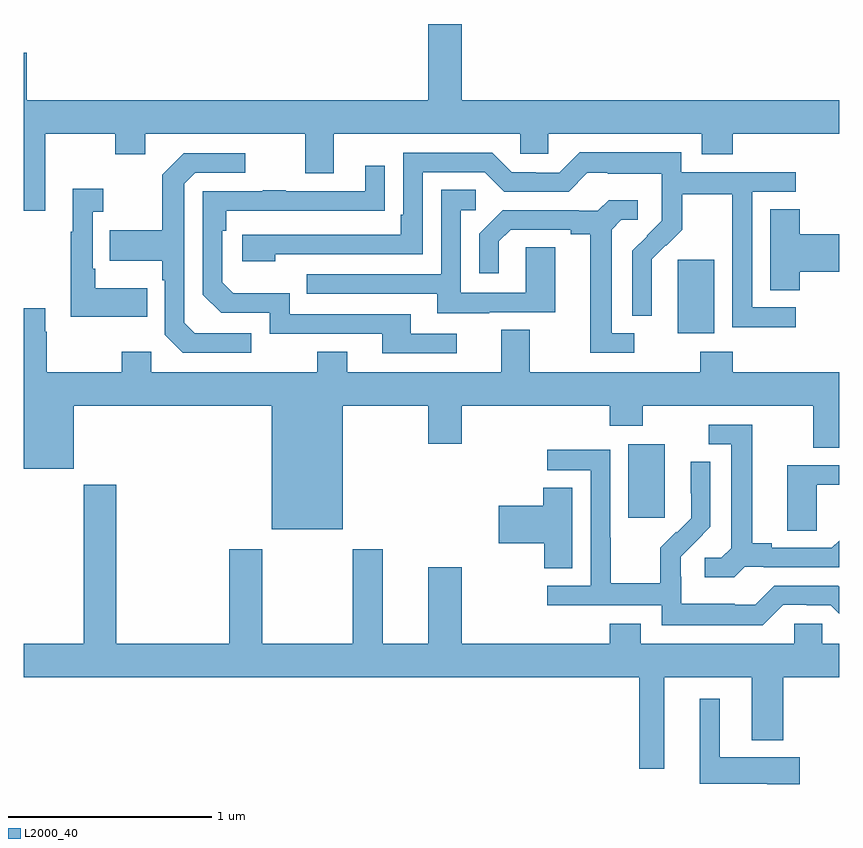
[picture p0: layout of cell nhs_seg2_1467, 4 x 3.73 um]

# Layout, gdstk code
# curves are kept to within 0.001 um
import gdstk
lib = gdstk.Library(unit=1e-6, precision=1e-09)
def R(c, l, rs):  # rectangles x0, y0, x1, y1
    for r in rs: c.add(gdstk.rectangle(r[:2], r[2:], *l))
def P(c, l, *ps):  # polygons
    for p in ps: c.add(gdstk.Polygon(p, *l))
L2000_40 = (2000, 40)

nhs_seg2_1467 = lib.new_cell('nhs_seg2_1467')
R(nhs_seg2_1467, L2000_40, [(189.965,627.105,190.144,627.466), (190.208,628.01,190.387,628.371)])
P(nhs_seg2_1467, L2000_40, [(187.105,628.988),(187.45,628.988),(187.45,628.889),(187.597,628.889),(187.597,628.988),(188.381,628.988),(188.381,628.794),(188.521,628.794),(188.521,628.988),(189.435,628.988),(189.435,628.89),(189.573,628.89),(189.573,628.988),(190.325,628.988),(190.325,628.889),(190.478,628.889),(190.478,628.988),(191,628.988),(191,629.152),(189.148,629.152),(189.148,629.527),(188.984,629.527),(188.984,629.152),(187.016,629.152),(187.016,629.386),(187,629.386),(187,628.611),(187.105,628.611)],
  [(190.786,628.137),(190.572,628.137),(190.572,628.704),(190.786,628.704),(190.786,628.8),(190.224,628.8),(190.224,628.897),(189.727,628.897),(189.627,628.797),(189.512,628.797),(189.512,628.8),(189.393,628.8),(189.297,628.896),(188.862,628.896),(188.862,628.591),(188.849,628.591),(188.849,628.494),(188.073,628.494),(188.073,628.364),(188.234,628.364),(188.234,628.398),(188.958,628.398),(188.958,628.8),(189.261,628.8),(189.357,628.704),(189.672,628.704),(189.765,628.797),(189.865,628.797),(189.865,628.793),(190.128,628.793),(190.128,628.659),(190.13,628.659),(190.13,628.562),(189.984,628.414),(189.984,628.096),(190.08,628.096),(190.079,628.373),(190.149,628.443),(190.152,628.44),(190.229,628.517),(190.229,628.692),(190.474,628.692),(190.474,628.468),(190.476,628.468),(190.476,628.039),(190.786,628.039)],
  [(188.116,628.011),(187.839,628.011),(187.788,628.062),(187.788,628.743),(187.842,628.797),(188.086,628.797),(188.086,628.893),(187.785,628.893),(187.68,628.787),(187.68,628.515),(187.423,628.515),(187.423,628.367),(187.68,628.367),(187.68,628.271),(187.692,628.271),(187.692,628.002),(187.779,627.915),(188.116,627.915)],
  [(189.124,628.008),(188.899,628.008),(188.899,628.104),(188.304,628.104),(188.304,628.207),(188.027,628.207),(187.974,628.26),(187.974,628.514),(187.994,628.514),(187.994,628.611),(188.771,628.612),(188.771,628.831),(188.675,628.831),(188.675,628.707),(188.285,628.707),(188.285,628.712),(188.173,628.712),(188.173,628.707),(187.878,628.707),(187.878,628.2),(187.968,628.11),(188.208,628.11),(188.208,628.008),(188.759,628.008),(188.759,627.912),(189.124,627.912)],
  [(187.607,628.231),(187.351,628.231),(187.351,628.327),(187.338,628.327),(187.338,628.607),(187.39,628.607),(187.39,628.72),(187.241,628.72),(187.241,628.507),(187.23,628.507),(187.23,628.091),(187.607,628.091)],
  [(189.283,628.113),(189.607,628.113),(189.607,628.433),(189.462,628.433),(189.462,628.209),(189.144,628.209),(189.144,628.614),(189.217,628.614),(189.217,628.715),(189.048,628.715),(189.048,628.299),(188.389,628.299),(188.389,628.203),(189.029,628.203),(189.029,628.109),(189.283,628.109)],
  [(189.994,628.011),(189.883,628.011),(189.883,628.519),(189.93,628.566),(190.012,628.566),(190.012,628.663),(189.868,628.663),(189.816,628.611),(189.722,628.611),(189.722,628.614),(189.35,628.614),(189.234,628.498),(189.234,628.305),(189.331,628.305),(189.331,628.461),(189.388,628.518),(189.683,628.518),(189.683,628.496),(189.779,628.496),(189.779,627.915),(189.994,627.915)],
  [(190.805,628.313),(191,628.313),(191,628.496),(190.805,628.496),(190.805,628.619),(190.661,628.619),(190.661,628.222),(190.805,628.222)],
  [(188.566,627.656),(188.984,627.656),(188.984,627.468),(189.148,627.468),(189.148,627.656),(189.875,627.656),(189.875,627.557),(190.035,627.557),(190.035,627.656),(190.871,627.656),(190.871,627.448),(191,627.448),(191,627.82),(190.478,627.82),(190.478,627.919),(190.318,627.919),(190.318,627.82),(189.481,627.82),(189.481,628.028),(189.341,628.028),(189.341,627.82),(188.587,627.82),(188.587,627.919),(188.44,627.919),(188.44,627.82),(187.626,627.82),(187.626,627.919),(187.48,627.919),(187.48,627.82),(187.113,627.82),(187.113,628.019),(187.105,628.019),(187.105,628.132),(187,628.132),(187,627.347),(187.246,627.347),(187.246,627.656),(188.216,627.656),(188.216,627.05),(188.566,627.05)],
  [(190.536,626.865),(190.63,626.865),(190.63,626.862),(191,626.862),(191,626.994),(190.964,626.958),(190.669,626.958),(190.669,626.981),(190.573,626.981),(190.573,627.561),(190.359,627.561),(190.359,627.465),(190.469,627.465),(190.469,626.957),(190.422,626.91),(190.341,626.91),(190.341,626.813),(190.484,626.813)],
  [(190.725,626.679),(190.841,626.679),(190.841,626.676),(190.959,626.676),(191,626.635),(191,626.767),(190.995,626.772),(190.68,626.772),(190.587,626.679),(190.487,626.679),(190.487,626.683),(190.224,626.683),(190.224,626.817),(190.222,626.817),(190.222,626.914),(190.368,627.062),(190.368,627.38),(190.272,627.38),(190.272,627.226),(190.274,627.226),(190.274,627.104),(190.203,627.033),(190.2,627.036),(190.123,626.959),(190.123,626.785),(189.879,626.785),(189.879,627.008),(189.876,627.008),(189.876,627.438),(189.567,627.438),(189.567,627.339),(189.78,627.339),(189.78,626.772),(189.567,626.772),(189.567,626.676),(190.128,626.676),(190.128,626.579),(190.625,626.579)],
  [(190.89,627.267),(191,627.267),(191,627.363),(190.745,627.363),(190.745,627.043),(190.89,627.043)],
  [(190.141,626.324),(190.571,626.324),(190.571,626.015),(190.724,626.015),(190.724,626.324),(191,626.324),(191,626.488),(190.917,626.488),(190.917,626.586),(190.779,626.586),(190.779,626.488),(190.027,626.488),(190.027,626.587),(189.875,626.587),(189.875,626.488),(189.148,626.488),(189.148,626.863),(188.984,626.863),(188.984,626.488),(188.761,626.488),(188.761,626.95),(188.614,626.95),(188.614,626.488),(188.169,626.488),(188.169,626.95),(188.009,626.95),(188.009,626.488),(187.454,626.488),(187.454,627.268),(187.294,627.268),(187.294,626.488),(187,626.488),(187,626.324),(190.02,626.324),(190.02,625.875),(190.141,625.875)],
  [(189.691,627.254),(189.548,627.254),(189.548,627.164),(189.33,627.164),(189.33,626.981),(189.553,626.981),(189.553,626.857),(189.691,626.857)],
  [(190.805,625.93),(190.414,625.93),(190.414,626.218),(190.316,626.218),(190.316,625.802),(190.646,625.802),(190.646,625.8),(190.805,625.8)])

lib.write_gds('nhs_seg2_1467.gds')
